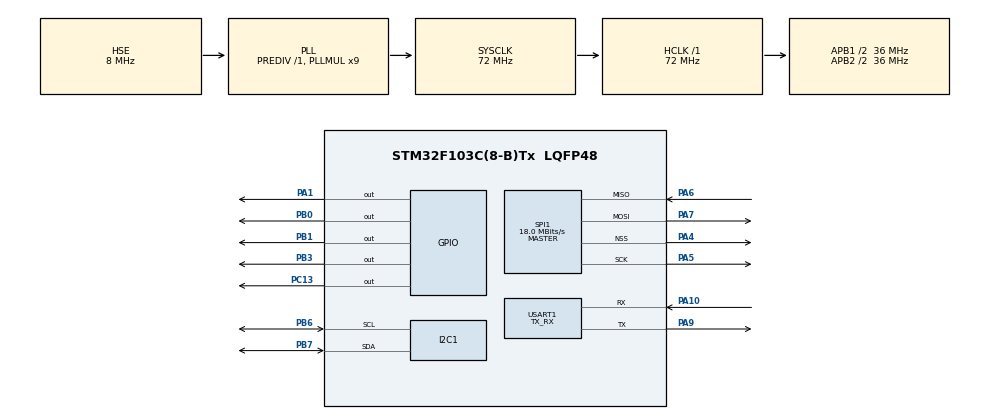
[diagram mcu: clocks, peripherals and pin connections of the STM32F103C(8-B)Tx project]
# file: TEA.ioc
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Mcu.Family=STM32F1
Mcu.Name=STM32F103C(8-B)Tx
Mcu.Package=LQFP48
NVIC.PriorityGroup=NVIC_PRIORITYGROUP_4
PA1.Signal=GPIO_Output
PA10.Mode=Asynchronous
PA10.Signal=USART1_RX
PA13.Mode=Serial_Wire
PA13.Signal=SYS_JTMS-SWDIO
PA14.Mode=Serial_Wire
PA14.Signal=SYS_JTCK-SWCLK
PA4.Mode=NSS_Signal_Hard_Output
PA4.Signal=SPI1_NSS
PA5.Mode=Full_Duplex_Master
PA5.Signal=SPI1_SCK
PA6.Mode=Full_Duplex_Master
PA6.Signal=SPI1_MISO
PA7.Mode=Full_Duplex_Master
PA7.Signal=SPI1_MOSI
PA9.Mode=Asynchronous
PA9.Signal=USART1_TX
PB0.Signal=GPIO_Output
PB1.Signal=GPIO_Output
PB3.Signal=GPIO_Output
PB6.Mode=I2C
PB6.Signal=I2C1_SCL
PB7.Mode=I2C
PB7.Signal=I2C1_SDA
PC13-TAMPER-RTC.Signal=GPIO_Output
PD0-OSC_IN.Mode=HSE-External-Oscillator
PD0-OSC_IN.Signal=RCC_OSC_IN
PD1-OSC_OUT.Mode=HSE-External-Oscillator
PD1-OSC_OUT.Signal=RCC_OSC_OUT
ProjectManager.HeapSize=0x200
ProjectManager.StackSize=0x400
ProjectManager.TargetToolchain=STM32CubeIDE
RCC.AHBFreq_Value=72000000
RCC.APB1CLKDivider=RCC_HCLK_DIV2
RCC.APB1Freq_Value=36000000
RCC.APB1TimFreq_Value=72000000
RCC.APB2CLKDivider=RCC_HCLK_DIV2
RCC.APB2Freq_Value=36000000
RCC.APB2TimFreq_Value=72000000
RCC.HCLKFreq_Value=72000000
RCC.PLLMUL=RCC_PLL_MUL9
RCC.PLLSourceVirtual=RCC_PLLSOURCE_HSE
RCC.SYSCLKFreq_VALUE=72000000
RCC.SYSCLKSource=RCC_SYSCLKSOURCE_PLLCLK
RCC.USBFreq_Value=48000000
RCC.USBPrescaler=RCC_USBCLKSOURCE_PLL_DIV1_5
SPI1.CalculateBaudRate=18.0 MBits/s
SPI1.Direction=SPI_DIRECTION_2LINES
SPI1.Mode=SPI_MODE_MASTER
SPI1.VirtualNSS=VM_NSSHARD
SPI1.VirtualType=VM_MASTER
TIM1.Period=0xffff-1
TIM1.Prescaler=72-1
USART1.Mode=MODE_TX_RX
USART1.VirtualMode=VM_ASYNC
VP_TIM1_VS_ClockSourceINT.Mode=Internal
board=custom

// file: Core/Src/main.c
/* USER CODE BEGIN Header */
/**
  ******************************************************************************
  * @file           : main.c
  * @brief          : Main program body
  ******************************************************************************
  * @attention
  *
  * <h2><center>&copy; Copyright (c) 2019 STMicroelectronics.
  * All rights reserved.</center></h2>
  *
  * This software component is licensed by ST under BSD 3-Clause license,
  * the "License"; You may not use this file except in compliance with the
  * License. You may obtain a copy of the License at:
  *                        opensource.org/licenses/BSD-3-Clause
  *
  ******************************************************************************
  */
/* USER CODE END Header */

#include "main.h"

/* USER CODE BEGIN Includes */
#include "ILI9341_Touchscreen.h"
#include <stdio.h>
#include "ILI9341_STM32_Driver.h"
#include "ILI9341_GFX.h"
#include "spi.h"
#include "dwt_stm32_delay.h"
/* USER CODE END Includes */

I2C_HandleTypeDef hi2c1;

SPI_HandleTypeDef hspi1;

TIM_HandleTypeDef htim1;

UART_HandleTypeDef huart1;

/* USER CODE BEGIN PV */

/* Private function prototypes -----------------------------------------------*/

#ifdef __GNUC__
/* With GCC, small printf (option LD Linker->Libraries->Small printf
   set to 'Yes') calls __io_putchar() */
#define PUTCHAR_PROTOTYPE int __io_putchar(int ch)
#else
#define PUTCHAR_PROTOTYPE int fputc(int ch, FILE *f)
#endif /* __GNUC__ */

/* USER CODE END PV */

void SystemClock_Config(void);
static void MX_GPIO_Init(void);
static void MX_I2C1_Init(void);
//static void MX_SPI1_Init(void);
static void MX_USART1_UART_Init(void);
static void MX_TIM1_Init(void);

/* USER CODE BEGIN 0 */
//DS18B20
GPIO_InitTypeDef GPIO_InitStruct;

void gpio_set_input (void)
{
  GPIO_InitStruct.Pin = GPIO_PIN_1;
  GPIO_InitStruct.Mode = GPIO_MODE_INPUT;
  GPIO_InitStruct.Pull = GPIO_PULLUP;
  HAL_GPIO_Init(GPIOA, &GPIO_InitStruct);
}

void gpio_set_output (void)
{
  GPIO_InitStruct.Pin = GPIO_PIN_1;
  GPIO_InitStruct.Mode = GPIO_MODE_OUTPUT_PP;
  GPIO_InitStruct.Pull = GPIO_NOPULL;
  GPIO_InitStruct.Speed = GPIO_SPEED_FREQ_LOW;
  HAL_GPIO_Init(GPIOA, &GPIO_InitStruct);
}

uint8_t check =2, temp_l, temp_h;
uint16_t temp;
float temperature;

uint8_t ds18b20_init (void)
{
	gpio_set_output ();   // set the pin as output
	HAL_GPIO_WritePin (GPIOA, GPIO_PIN_1, 0);  // pull the pin low
	DWT_Delay_us (480);   // delay according to datasheet

	gpio_set_input ();    // set the pin as input
	DWT_Delay_us (80);    // delay according to datasheet

	if (!(HAL_GPIO_ReadPin (GPIOA, GPIO_PIN_1)))    // if the pin is low i.e the presence pulse is there
	{
		DWT_Delay_us (400);  // wait for 400 us
		return 0;
	}

	else
	{
		DWT_Delay_us (400);
		return 1;
	}
}

void write (uint8_t data)
{
	gpio_set_output ();   // set as output

	for (int i=0; i<8; i++)
	{

		if ((data & (1<<i))!=0)  // if the bit is high
		{
			// write 1

			gpio_set_output ();  // set as output
			HAL_GPIO_WritePin (GPIOA, GPIO_PIN_1, 0);  // pull the pin LOW
			DWT_Delay_us (1);  // wait for  us

			gpio_set_input ();  // set as input
			DWT_Delay_us (60);  // wait for 60 us
		}

		else  // if the bit is low
		{
			// write 0

			gpio_set_output ();
			HAL_GPIO_WritePin (GPIOA, GPIO_PIN_1, 0);  // pull the pin LOW
			DWT_Delay_us (60);  // wait for 60 us

			gpio_set_input ();
		}
	}
}

uint8_t read (void)
{
	uint8_t value=0;
	gpio_set_input ();

	for (int i=0;i<8;i++)
	{
		gpio_set_output ();   // set as output

		HAL_GPIO_WritePin (GPIOA, GPIO_PIN_1, 0);  // pull the data pin LOW
		DWT_Delay_us (2);  // wait for 2 us

		gpio_set_input ();  // set as input
		if (HAL_GPIO_ReadPin (GPIOA, GPIO_PIN_1))  // if the pin is HIGH
		{
			value |= 1<<i;  // read = 1
		}
		DWT_Delay_us (60);  // wait for 60 us
	}
	return value;
}

//Screen

/* USER CODE END 0 */

int main(void)
{

  /* MCU Configuration--------------------------------------------------------*/

  /* Reset of all peripherals, Initializes the Flash interface and the Systick. */
  HAL_Init();

  /* Configure the system clock */
  SystemClock_Config();

  /* Initialize all configured peripherals */
  MX_GPIO_Init();
  MX_I2C1_Init();
  MX_SPI1_Init();
  MX_USART1_UART_Init();
  MX_TIM1_Init();
  /* USER CODE BEGIN 2 */
  ILI9341_Init();
  printf("\n\r UART Printf Example: retarget the C library printf function to the UART\n\r");
  printf("** Test finished successfully. ** \n\r");
  DWT_Delay_Init();
  ILI9341_Fill_Screen(WHITE);

  /* USER CODE END 2 */

  /* Infinite loop */
  /* USER CODE BEGIN WHILE */
  while (1)
  {
	/* temperautre*/
	check = ds18b20_init ();
	write (0xCC);  // skip ROM
	write (0x44);  // convert t

	HAL_Delay (800);

	ds18b20_init ();
	write (0xCC);  // skip ROM
	write (0xBE);  // Read Scratchpad

	temp_l = read();
	temp_h = read();
	temp = (temp_h<<8)|temp_l;
	temperature = (float)temp/16;
	HAL_GPIO_TogglePin(GPIOC,GPIO_PIN_13);
//	HAL_Delay(1000);

	/*screen test*/

//	ILI9341_Draw_Text("FPS TEST, 40 loop 2 screens", 10, 10, BLACK, 1, WHITE);

//	printf(counter_buff, "%f \n\r", temperature);
	ILI9341_Set_Rotation(SCREEN_HORIZONTAL_2);
	ILI9341_Draw_Text("FPS TEST, 40 loop 2 screens", 10, 10, BLACK, 1, WHITE);
	char counter_buff[30];
	printf("%.1f \n\r", temperature);
	sprintf(counter_buff, "Current Temp: %.1f", temperature);
	ILI9341_Draw_Text(counter_buff, 10, 90, BLACK, 2, WHITE);

	printf("\r\n");

	printf("Scanning I2C bus:\r\n");
	HAL_StatusTypeDef result;
	uint8_t i;
	for (i=1; i<128; i++)
	{
	  /*
	   * the HAL wants a left aligned i2c address
	   * &hi2c1 is the handle
	   * (uint16_t)(i<<1) is the i2c address left aligned
	   * retries 2
	   * timeout 2
	   */
	  result = HAL_I2C_IsDeviceReady(&hi2c1, (uint16_t)(i<<1), 2, 2);
	  if (result != HAL_OK) // HAL_ERROR or HAL_BUSY or HAL_TIMEOUT
	  {
		  printf("."); // No ACK received at that address
	  }
	  if (result == HAL_OK)
	  {
		  printf("0x%X", i); // Received an ACK at that address
	  }
	}
	printf("\r\n");

//	printf(buffer);
//	HAL_Delay(1000);
//	ILI9341_Fill_Screen(WHITE);

//	uint32_t Timer_Counter = 0;
//	for(uint32_t j = 0; j < 2; j++)
//	{
//		HAL_TIM_Base_Start(&htim1);
//		for(uint16_t i = 0; i < 10; i++)
//		{
//			ILI9341_Fill_Screen(WHITE);
//			ILI9341_Fill_Screen(BLACK);
//		}
//
//		//20.000 per second!
//		HAL_TIM_Base_Stop(&htim1);
//		Timer_Counter += __HAL_TIM_GET_COUNTER(&htim1);
//		__HAL_TIM_SET_COUNTER(&htim1, 0);
//	}
//	Timer_Counter /= 2;
//
//	char counter_buff[30];
//	ILI9341_Fill_Screen(WHITE);
//	ILI9341_Set_Rotation(SCREEN_HORIZONTAL_2);
//	printf(counter_buff, "Timer counter value: %d", Timer_Counter*2);
//	ILI9341_Draw_Text(counter_buff, 10, 10, BLACK, 1, WHITE);
//
//	double seconds_passed = 2*((float)Timer_Counter / 20000);
//	printf(counter_buff, "Time: %.3f Sec", seconds_passed);
//	ILI9341_Draw_Text(counter_buff, 10, 30, BLACK, 2, WHITE);
//
//	double timer_float = 20/(((float)Timer_Counter)/20000);	//Frames per sec
//
//	printf(counter_buff, "FPS:  %.2f", timer_float);
//	ILI9341_Draw_Text(counter_buff, 10, 50, BLACK, 2, WHITE);
//	double MB_PS = timer_float*240*320*2/1000000;
//	printf(counter_buff, "MB/S: %.2f", MB_PS);
//	ILI9341_Draw_Text(counter_buff, 10, 70, BLACK, 2, WHITE);
//	double SPI_utilized_percentage = (MB_PS/(6.25 ))*100;		//50mbits / 8 bits
//	printf(counter_buff, "SPI Utilized: %.2f", SPI_utilized_percentage);
//	ILI9341_Draw_Text(counter_buff, 10, 90, BLACK, 2, WHITE);
//	HAL_Delay(10000);

    /* USER CODE END WHILE */

  }
}

void SystemClock_Config(void)
{
  RCC_OscInitTypeDef RCC_OscInitStruct = {0};
  RCC_ClkInitTypeDef RCC_ClkInitStruct = {0};

  /** Initializes the CPU, AHB and APB busses clocks
  */
  RCC_OscInitStruct.OscillatorType = RCC_OSCILLATORTYPE_HSE;
  RCC_OscInitStruct.HSEState = RCC_HSE_ON;
  RCC_OscInitStruct.HSEPredivValue = RCC_HSE_PREDIV_DIV1;
  RCC_OscInitStruct.HSIState = RCC_HSI_ON;
  RCC_OscInitStruct.PLL.PLLState = RCC_PLL_ON;
  RCC_OscInitStruct.PLL.PLLSource = RCC_PLLSOURCE_HSE;
  RCC_OscInitStruct.PLL.PLLMUL = RCC_PLL_MUL9;
  if (HAL_RCC_OscConfig(&RCC_OscInitStruct) != HAL_OK)
  {
    Error_Handler();
  }
  /** Initializes the CPU, AHB and APB busses clocks
  */
  RCC_ClkInitStruct.ClockType = RCC_CLOCKTYPE_HCLK|RCC_CLOCKTYPE_SYSCLK
                              |RCC_CLOCKTYPE_PCLK1|RCC_CLOCKTYPE_PCLK2;
  RCC_ClkInitStruct.SYSCLKSource = RCC_SYSCLKSOURCE_PLLCLK;
  RCC_ClkInitStruct.AHBCLKDivider = RCC_SYSCLK_DIV1;
  RCC_ClkInitStruct.APB1CLKDivider = RCC_HCLK_DIV2;
  RCC_ClkInitStruct.APB2CLKDivider = RCC_HCLK_DIV2;

  if (HAL_RCC_ClockConfig(&RCC_ClkInitStruct, FLASH_LATENCY_2) != HAL_OK)
  {
    Error_Handler();
  }
}

static void MX_I2C1_Init(void)
{

  hi2c1.Instance = I2C1;
  hi2c1.Init.ClockSpeed = 100000;
  hi2c1.Init.DutyCycle = I2C_DUTYCYCLE_2;
  hi2c1.Init.OwnAddress1 = 0;
  hi2c1.Init.AddressingMode = I2C_ADDRESSINGMODE_7BIT;
  hi2c1.Init.DualAddressMode = I2C_DUALADDRESS_DISABLE;
  hi2c1.Init.OwnAddress2 = 0;
  hi2c1.Init.GeneralCallMode = I2C_GENERALCALL_DISABLE;
  hi2c1.Init.NoStretchMode = I2C_NOSTRETCH_DISABLE;
  if (HAL_I2C_Init(&hi2c1) != HAL_OK)
  {
    Error_Handler();
  }

}

//static void MX_SPI1_Init(void)
//{
//
//  /* USER CODE BEGIN SPI1_Init 0 */
//
//  /* USER CODE END SPI1_Init 0 */
//
//  /* USER CODE BEGIN SPI1_Init 1 */
//
//  /* USER CODE END SPI1_Init 1 */
//  /* SPI1 parameter configuration*/
//  hspi1.Instance = SPI1;
//  hspi1.Init.Mode = SPI_MODE_MASTER;
//  hspi1.Init.Direction = SPI_DIRECTION_2LINES;
//  hspi1.Init.DataSize = SPI_DATASIZE_8BIT;
//  hspi1.Init.CLKPolarity = SPI_POLARITY_LOW;
//  hspi1.Init.CLKPhase = SPI_PHASE_1EDGE;
//  hspi1.Init.NSS = SPI_NSS_HARD_OUTPUT;
//  hspi1.Init.BaudRatePrescaler = SPI_BAUDRATEPRESCALER_2;
//  hspi1.Init.FirstBit = SPI_FIRSTBIT_MSB;
//  hspi1.Init.TIMode = SPI_TIMODE_DISABLE;
//  hspi1.Init.CRCCalculation = SPI_CRCCALCULATION_DISABLE;
//  hspi1.Init.CRCPolynomial = 10;
//  if (HAL_SPI_Init(&hspi1) != HAL_OK)
//  {
//    Error_Handler();
//  }
//  /* USER CODE BEGIN SPI1_Init 2 */
//
//  /* USER CODE END SPI1_Init 2 */
//
//}

static void MX_TIM1_Init(void)
{

  TIM_ClockConfigTypeDef sClockSourceConfig = {0};
  TIM_MasterConfigTypeDef sMasterConfig = {0};

  htim1.Instance = TIM1;
  htim1.Init.Prescaler = 72-1;
  htim1.Init.CounterMode = TIM_COUNTERMODE_UP;
  htim1.Init.Period = 0xffff-1;
  htim1.Init.ClockDivision = TIM_CLOCKDIVISION_DIV1;
  htim1.Init.RepetitionCounter = 0;
  htim1.Init.AutoReloadPreload = TIM_AUTORELOAD_PRELOAD_DISABLE;
  if (HAL_TIM_Base_Init(&htim1) != HAL_OK)
  {
    Error_Handler();
  }
  sClockSourceConfig.ClockSource = TIM_CLOCKSOURCE_INTERNAL;
  if (HAL_TIM_ConfigClockSource(&htim1, &sClockSourceConfig) != HAL_OK)
  {
    Error_Handler();
  }
  sMasterConfig.MasterOutputTrigger = TIM_TRGO_RESET;
  sMasterConfig.MasterSlaveMode = TIM_MASTERSLAVEMODE_DISABLE;
  if (HAL_TIMEx_MasterConfigSynchronization(&htim1, &sMasterConfig) != HAL_OK)
  {
    Error_Handler();
  }

}

static void MX_USART1_UART_Init(void)
{

  huart1.Instance = USART1;
  huart1.Init.BaudRate = 115200;
  huart1.Init.WordLength = UART_WORDLENGTH_8B;
  huart1.Init.StopBits = UART_STOPBITS_1;
  huart1.Init.Parity = UART_PARITY_NONE;
  huart1.Init.Mode = UART_MODE_TX_RX;
  huart1.Init.HwFlowCtl = UART_HWCONTROL_NONE;
  huart1.Init.OverSampling = UART_OVERSAMPLING_16;
  if (HAL_UART_Init(&huart1) != HAL_OK)
  {
    Error_Handler();
  }

}

static void MX_GPIO_Init(void)
{
  GPIO_InitTypeDef GPIO_InitStruct = {0};

  /* GPIO Ports Clock Enable */
  __HAL_RCC_GPIOC_CLK_ENABLE();
  __HAL_RCC_GPIOD_CLK_ENABLE();
  __HAL_RCC_GPIOA_CLK_ENABLE();
  __HAL_RCC_GPIOB_CLK_ENABLE();

  /*Configure GPIO pin Output Level */
  HAL_GPIO_WritePin(GPIOC, GPIO_PIN_13, GPIO_PIN_RESET);

  /*Configure GPIO pin Output Level */
  HAL_GPIO_WritePin(GPIOA, GPIO_PIN_1, GPIO_PIN_RESET);

  /*Configure GPIO pin Output Level */
  HAL_GPIO_WritePin(GPIOB, GPIO_PIN_0|GPIO_PIN_1|GPIO_PIN_3, GPIO_PIN_RESET);

  /*Configure GPIO pin : PC13 */
  GPIO_InitStruct.Pin = GPIO_PIN_13;
  GPIO_InitStruct.Mode = GPIO_MODE_OUTPUT_PP;
  GPIO_InitStruct.Pull = GPIO_NOPULL;
  GPIO_InitStruct.Speed = GPIO_SPEED_FREQ_LOW;
  HAL_GPIO_Init(GPIOC, &GPIO_InitStruct);

  /*Configure GPIO pin : PA1 */
  GPIO_InitStruct.Pin = GPIO_PIN_1;
  GPIO_InitStruct.Mode = GPIO_MODE_OUTPUT_PP;
  GPIO_InitStruct.Pull = GPIO_NOPULL;
  GPIO_InitStruct.Speed = GPIO_SPEED_FREQ_LOW;
  HAL_GPIO_Init(GPIOA, &GPIO_InitStruct);

  /*Configure GPIO pins : PB0 PB1 PB3 */
  GPIO_InitStruct.Pin = GPIO_PIN_0|GPIO_PIN_1|GPIO_PIN_3;
  GPIO_InitStruct.Mode = GPIO_MODE_OUTPUT_PP;
  GPIO_InitStruct.Pull = GPIO_NOPULL;
  GPIO_InitStruct.Speed = GPIO_SPEED_FREQ_LOW;
  HAL_GPIO_Init(GPIOB, &GPIO_InitStruct);

}

/* USER CODE BEGIN 4 */
PUTCHAR_PROTOTYPE
{
  /* Place your implementation of fputc here */
  /* e.g. write a character to the USART1 and Loop until the end of transmission */
  HAL_UART_Transmit(&huart1, (uint8_t *)&ch, 1, 0xFFFF);
  return ch;
}
/* USER CODE END 4 */

void Error_Handler(void)
{
}

/************************ (C) COPYRIGHT STMicroelectronics *****END OF FILE****/
